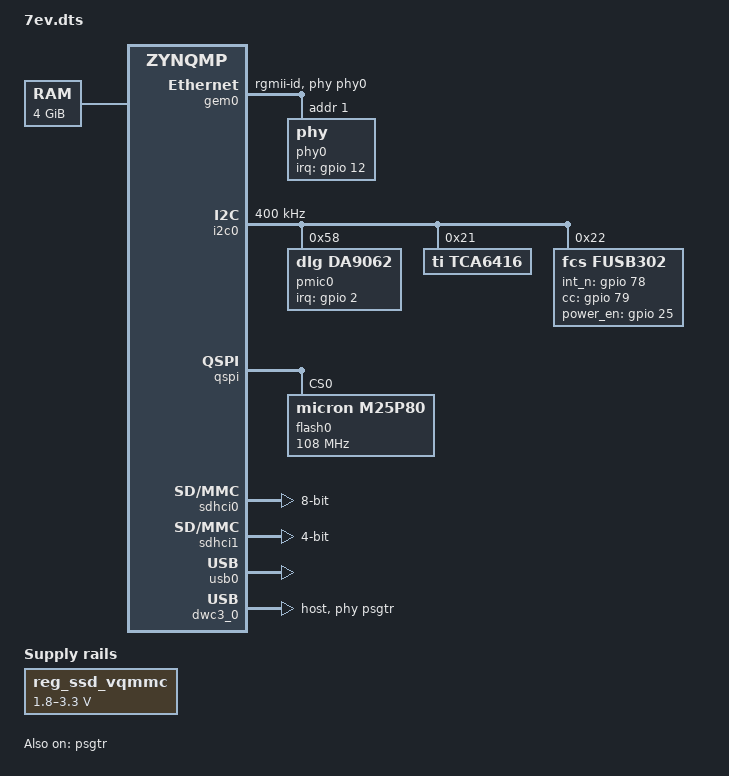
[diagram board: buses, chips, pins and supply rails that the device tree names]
/dts-v1/;
#include "zynqmp.dtsi"
#include "zynqmp-clk-ccf.dtsi"
#include "pl.dtsi"
#include "pcw.dtsi"
#include <dt-bindings/phy/phy.h>
/ {
	chosen {
		bootargs = "earlycon console=ttyPS0,115200 clk_ignore_unused root=/dev/mmcblk1p2 rw rootwait";
		stdout-path = "serial0:115200n8";
	};
	aliases {
		ethernet0 = &gem0;
		serial0 = &uart0;
		serial1 = &uart1;
		i2c0 = &i2c0;
		spi0 = &qspi;
	};
	memory {
		device_type = "memory";
		reg = <0x0 0x0 0x0 0x7ff00000>, <0x00000008 0x00000000 0x0 0x80000000>;
	};
	regulators {
		compatible = "simple-bus";
		#address-cells = <1>;
		#size-cells = <0>;
		reg_ssd_vqmmc: regulator_ssd_vqmmc {
			compatible = "regulator-gpio";
			regulator-name = "ssd_vqmmc";
			regulator-min-microvolt = <1800000>;
			regulator-max-microvolt = <3300000>;
			regulator-type = "voltage";
			gpios = <&gpio 43 1>;
			gpios-states = <1>;
			states = <3300000 1
				1800000 0>;
		};
	};
};

/*&amba_pl {
	cc7ev_system: cc7ev_system@80000000 {
	   compatible = "cc7ev_system-1.0";
	   reg = <0x0 0x80000000 0x0 0x10000>;
    };

	dqm_source0: dqm_source@80030000 {
	      compatible = "dqm_source-1.0";
	      clock-names = "axi_lite_aclk";
	      clocks = <&misc_clk_0>;
	      reg = <0x0 0x80030000 0x0 0x10000>;
          sync_word = <0xFAC0>;
          id_word = <0x1234>;
          payload_size_bytes = <128>;
          dqm1 = <0x1111>;
          dqm2 = <0x2222>;
          dqm3 = <0x3333>;
          dqm4 = <0x4444>;
          bert_tp = <0xeb90>;
          bert_pattern_sel = "tp";
		  refclk_hz = <300000000>;
          tx_bitrate = <100000>;
    };
	data_ch0: data_channel@80020000 {
	      compatible = "data_channel-1.0";
	      clock-names = "axi_lite_aclk";
	      clocks = <&misc_clk_0>, <&misc_clk_0>;
	      reg = <0x0 0x80020000 0x0 0x1000>;
 		  channel = <0>;
          sync_pattern = <0xFAC0>;
          bytes_per_sync = <132>;
		  tx_en = <0>;
		  rx_en = <1>;
		  rxc_polarity = <1>;
		  rxd_polarity = <0>;
		  txc_polarity = <0>;
		  txd_polarity = <0>;
    };
    dma_central0: dma_central@80040000 {
          compatible = "dma_central-1.0";
	      clock-names = "axi_lite_aclk", "axis_in_aclk";
          clocks = <&misc_clk_0>, <&misc_clk_0>;
          interrupt-parent = <&gic>;
          interrupts = <0 89 1>;
          reg = <0x0 0x80040000 0x0 0x1000 0x0 0xa0000000 0x0 0x100000>;
          channel = <0>;
          num_buffers = <12>;
          int_retry_cnt = <4500000>;
          dmas = <&fpd_dma_chan1 0>;
          dma-names = "dma";
	};
};
*/

&gem0 {
	phy-mode = "rgmii-id";
	local-mac-address = [00 01 02 03 04 05];
	status = "okay";
	xlnx,ptp-enet-clock = <0x0>;
	phy-handle = <&phy0>;
	phy-reset-gpio = <&gpio 42 1>;
	phy-reset-active-low;
	phy-reset-duration = <20>;
	phy0: phy@1 {
		reg = <1>;
		ti,rx-internal-delay = <0x8>;
		ti,tx-internal-delay = <0xa>;
		ti,fifo-depth = <0x1>;
		ti,rxctrl-strap-worka;
		at803x,led-act-blind-workaround;
		at803x,eee-disabled;
		at803x,vddio-1p8v;
		interrupt-parent = <&gpio>;
		interrupts = <12 8>;
	};
};

&i2c0 {
	clock-frequency = <400000>;
	status = "okay";
	
	pmic0: da9062@58 {
		compatible = "dlg,da9062";
		reg = <0x58>;
		interrupt-parent = <&gpio>;
		interrupts = <2 8>;
		interrupt-controller;
		rtc {
			compatible = "dlg,da9062-rtc";
		};
	};

       tca6416: gpio@21 { 
               compatible = "ti,tca6416";
                reg = <0x21>;
                gpio-controller;
                #gpio-cells = <2>;

               gtr_sel0 {
                       gpio-hog;
                       gpios = <4 0>;
                       output-high; /* RS0 = 1 */
                       line-name = "sel0";
               };

               gtr_sel1 {
                       gpio-hog;
                       gpios = <5 0>;
                       output-low; /* Enable Transceiver */
                       line-name = "sel1";
               };              
       };

       fusb302: typec-portc@22 {
		compatible = "fcs,fusb302";
		reg = <0x22>;
		fcs,int_n = <&gpio 78 8>;
		fcs,cc = <&gpio 79 0>;
		fcs,power_en = <&gpio 25 0>;
		status = "okay";
       };
};

&qspi {
	#address-cells = <1>;
	#size-cells = <0>;
	status = "okay";
	is-dual = <1>; /* Set for dual-parallel QSPI config */
	num-cs = <2>;
	xlnx,fb-clk = <0x1>;
	flash0: flash@0 {
        /* The Flash described below doesn't match our board ("micron,n25qu256a"), but is needed */
        /* so the Flash MTD partitions are correctly identified in /proc/mtd */
		compatible = "micron,m25p80"; /* 32MB */
		#address-cells = <1>;
		#size-cells = <1>;
		reg = <0x0>;
		spi-tx-bus-width = <1>;
		spi-rx-bus-width = <4>; /* FIXME also DUAL configuration possible */
		spi-max-frequency = <108000000>; /* Set to 108000000 Based on DC1 spec */
	};
};

&sdhci0{
        bus-width = <8>;
};

&sdhci1 {
	clock-frequency = <200000000>;
	status = "okay";
	bus-width = <4>;
	xlnx,mio_bank = <0x1>;
	xlnx,has-cd = <0x1>;
	vqmmc-supply = <&reg_ssd_vqmmc>;
};

&usb0 {
	status = "okay";
	xlnx,usb-reset = <0x2faf080>;
};

&dwc3_0 {
	status = "okay";
	dr_mode = "host";
	snps,usb3_lpm_capable;
	phy-names = "usb3-phy";
	phys = <&psgtr 2 PHY_TYPE_USB3 0 2>;
	maximum-speed = "super-speed";
};

&amba {
	usb1@ff9e0000 {
		dwc3@fe300000 {
		snps,enable_auto_retry;
		};
	};
}; 

&zynqmp_dpsub {
	status = "disabled";
	phys = <&psgtr 3 PHY_TYPE_DP 0 3>;
	phy-names = "dp-phy0";
};

&zynqmp_dp_snd_codec0 {
	status = "disabled";
};
&zynqmp_dp_snd_pcm0 {
	status = "disabled";
};
&zynqmp_dp_snd_pcm1 {
	status = "disabled";
};
&zynqmp_dp_snd_card0 {
	status = "disabled";
};

&psgtr {
	status = "okay";
	/* pcie, sata, usb3, dp */
	clocks = <&refclk_pcie &refclk_sata &refclk_usb &refclk_dp>;
	clock-names = "ref0\0ref1\0ref2\0ref3";
};

&fpd_dma_chan1 {
	status = "okay";
	#dma-cells = <1>;
	xlnx,bus-width = <128>;
};

